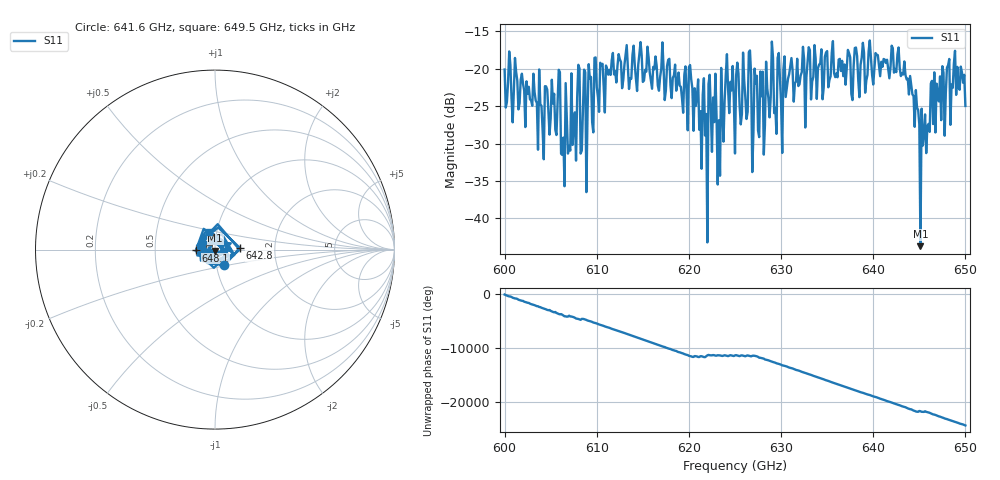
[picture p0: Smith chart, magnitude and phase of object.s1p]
!Created with skrf (http://scikit-rf.org).
# GHz S MA R 50.0
!freq magS11 angS11
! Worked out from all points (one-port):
!   401 points, 600 GHz to 650 GHz, reference 50 ohm
!   lowest |S11| = -43.7 dB at 645.1 GHz (marker M1), VSWR 1.01, Z = 50.2 - j0.634 ohm
!   |S11| at or under -10 dB: start of sweep to end of sweep
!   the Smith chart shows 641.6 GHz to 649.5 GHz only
!   S11 on the Smith chart (normalised r, x): 641.6 GHz: 1.09, -0.19; 642.8 GHz: 1.32, +0.03; 648.1 GHz: 0.81, -0.01; 649.5 GHz: 0.92, +0.18
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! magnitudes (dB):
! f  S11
! 600 GHz  -20.1
! 604.1 GHz  -28.2
! 605.8 GHz  -24.6
! 606.2 GHz  -31.5
! 607.6 GHz  -25.8
! 607.9 GHz  -23.8
! 608.6 GHz  -20.1
! 609.2 GHz  -21.4
! 612.5 GHz  -18.7
! 618.8 GHz  -21.9
! 620.2 GHz  -21.4
! 621.8 GHz  -28.9
! 622.2 GHz  -20.8
! 622.4 GHz  -25.6
! 623.1 GHz  -35.5
! 624.2 GHz  -22.7
! 625 GHz  -31.3
! 628.4 GHz  -19.1
! 631.2 GHz  -20.2
! 637.5 GHz  -18.5
! 641.6 GHz  -20.0
! 642.8 GHz  -17.2
! 643.8 GHz  -21.3
! 645.1 GHz  -43.7
! 646.4 GHz  -21.6
! 648.1 GHz  -19.5
! 649.5 GHz  -19.7
! 650 GHz  -25.0
